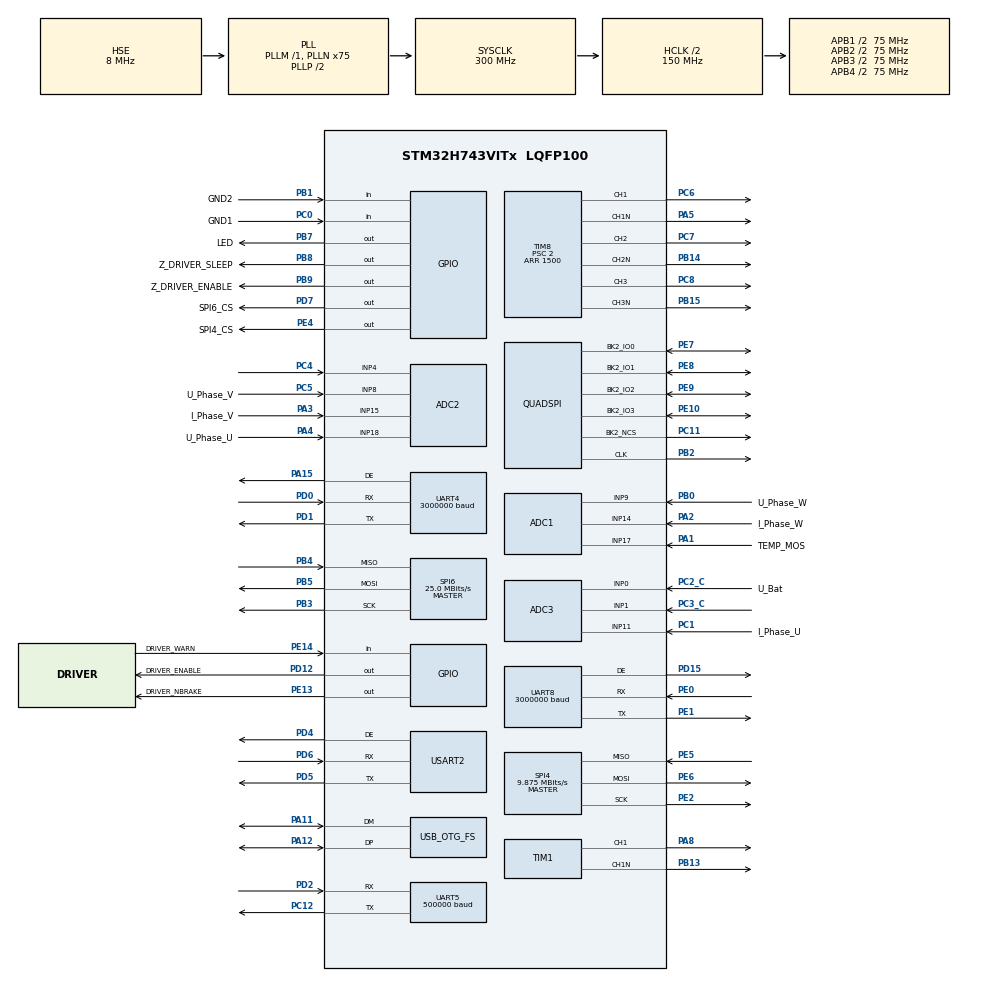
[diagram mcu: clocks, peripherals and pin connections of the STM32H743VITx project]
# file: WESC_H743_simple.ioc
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ADC1.ClockPrescaler=ADC_CLOCK_ASYNC_DIV2
ADC1.ContinuousConvMode=DISABLE
ADC1.EnableInjectedConversion=ENABLE
ADC1.EnableRegularConversion=DISABLE
ADC1.ExternalTrigInjecConv=ADC_EXTERNALTRIGINJEC_T8_TRGO
ADC1.InjNumberOfConversion=3
ADC1.InjectedChannel-2\#ChannelInjectedConversion=ADC_CHANNEL_14
ADC1.InjectedChannel-6\#ChannelInjectedConversion=ADC_CHANNEL_9
ADC1.InjectedChannel-7\#ChannelInjectedConversion=ADC_CHANNEL_17
ADC1.InjectedOffsetNumber-2\#ChannelInjectedConversion=ADC_OFFSET_NONE
ADC1.InjectedOffsetNumber-6\#ChannelInjectedConversion=ADC_OFFSET_NONE
ADC1.InjectedOffsetNumber-7\#ChannelInjectedConversion=ADC_OFFSET_NONE
ADC1.InjectedOffsetSaturation-2\#ChannelInjectedConversion=DISABLE
ADC1.InjectedOffsetSaturation-6\#ChannelInjectedConversion=DISABLE
ADC1.InjectedOffsetSaturation-7\#ChannelInjectedConversion=DISABLE
ADC1.InjectedOffsetSignedSaturation-2\#ChannelInjectedConversion=DISABLE
ADC1.InjectedOffsetSignedSaturation-6\#ChannelInjectedConversion=DISABLE
ADC1.InjectedOffsetSignedSaturation-7\#ChannelInjectedConversion=DISABLE
ADC1.InjectedRank-2\#ChannelInjectedConversion=1
ADC1.InjectedRank-6\#ChannelInjectedConversion=2
ADC1.InjectedRank-7\#ChannelInjectedConversion=3
ADC1.InjectedSamplingTime-2\#ChannelInjectedConversion=ADC_SAMPLETIME_8CYCLES_5
ADC1.InjectedSamplingTime-6\#ChannelInjectedConversion=ADC_SAMPLETIME_8CYCLES_5
ADC1.InjectedSamplingTime-7\#ChannelInjectedConversion=ADC_SAMPLETIME_2CYCLES_5
ADC1.master=1
ADC2.ContinuousConvMode=DISABLE
ADC2.EnableInjectedConversion=ENABLE
ADC2.EnableRegularConversion=DISABLE
ADC2.ExternalTrigInjecConv=ADC_EXTERNALTRIGINJEC_T8_TRGO
ADC2.InjNumberOfConversion=3
ADC2.InjectedChannel-4\#ChannelInjectedConversion=ADC_CHANNEL_15
ADC2.InjectedChannel-5\#ChannelInjectedConversion=ADC_CHANNEL_8
ADC2.InjectedChannel-6\#ChannelInjectedConversion=ADC_CHANNEL_18
ADC2.InjectedOffsetNumber-4\#ChannelInjectedConversion=ADC_OFFSET_NONE
ADC2.InjectedOffsetNumber-5\#ChannelInjectedConversion=ADC_OFFSET_NONE
ADC2.InjectedOffsetNumber-6\#ChannelInjectedConversion=ADC_OFFSET_NONE
ADC2.InjectedOffsetSaturation-4\#ChannelInjectedConversion=DISABLE
ADC2.InjectedOffsetSaturation-5\#ChannelInjectedConversion=DISABLE
ADC2.InjectedOffsetSaturation-6\#ChannelInjectedConversion=DISABLE
ADC2.InjectedOffsetSignedSaturation-4\#ChannelInjectedConversion=DISABLE
ADC2.InjectedOffsetSignedSaturation-5\#ChannelInjectedConversion=DISABLE
ADC2.InjectedOffsetSignedSaturation-6\#ChannelInjectedConversion=DISABLE
ADC2.InjectedRank-4\#ChannelInjectedConversion=1
ADC2.InjectedRank-5\#ChannelInjectedConversion=2
ADC2.InjectedRank-6\#ChannelInjectedConversion=3
ADC2.InjectedSamplingTime-4\#ChannelInjectedConversion=ADC_SAMPLETIME_8CYCLES_5
ADC2.InjectedSamplingTime-5\#ChannelInjectedConversion=ADC_SAMPLETIME_8CYCLES_5
ADC2.InjectedSamplingTime-6\#ChannelInjectedConversion=ADC_SAMPLETIME_8CYCLES_5
ADC3.Channel-0\#ChannelRegularConversion=ADC_CHANNEL_0
ADC3.ClockPrescaler=ADC_CLOCK_ASYNC_DIV2
ADC3.EnableInjectedConversion=ENABLE
ADC3.ExternalTrigInjecConv=ADC_EXTERNALTRIGINJEC_T8_TRGO
ADC3.InjNumberOfConversion=2
ADC3.InjectedChannel-1\#ChannelInjectedConversion=ADC_CHANNEL_11
ADC3.InjectedChannel-2\#ChannelInjectedConversion=ADC_CHANNEL_0
ADC3.InjectedOffsetNumber-1\#ChannelInjectedConversion=ADC_OFFSET_NONE
ADC3.InjectedOffsetNumber-2\#ChannelInjectedConversion=ADC_OFFSET_NONE
ADC3.InjectedOffsetSaturation-1\#ChannelInjectedConversion=DISABLE
ADC3.InjectedOffsetSaturation-2\#ChannelInjectedConversion=DISABLE
ADC3.InjectedOffsetSignedSaturation-1\#ChannelInjectedConversion=DISABLE
ADC3.InjectedOffsetSignedSaturation-2\#ChannelInjectedConversion=DISABLE
ADC3.InjectedRank-1\#ChannelInjectedConversion=1
ADC3.InjectedRank-2\#ChannelInjectedConversion=2
ADC3.InjectedSamplingTime-1\#ChannelInjectedConversion=ADC_SAMPLETIME_8CYCLES_5
ADC3.InjectedSamplingTime-2\#ChannelInjectedConversion=ADC_SAMPLETIME_8CYCLES_5
ADC3.NbrOfConversionFlag=1
ADC3.OffsetNumber-0\#ChannelRegularConversion=ADC_OFFSET_NONE
ADC3.OffsetSignedSaturation-0\#ChannelRegularConversion=DISABLE
ADC3.Rank-0\#ChannelRegularConversion=1
ADC3.SamplingTime-0\#ChannelRegularConversion=ADC_SAMPLETIME_1CYCLE_5
Bdma.Request0=SPI6_RX
Bdma.Request1=SPI6_TX
Bdma.RequestsNb=2
Bdma.SPI6_RX.0.Direction=DMA_PERIPH_TO_MEMORY
Bdma.SPI6_RX.0.EventEnable=DISABLE
Bdma.SPI6_RX.0.Instance=BDMA_Channel3
Bdma.SPI6_RX.0.MemDataAlignment=DMA_MDATAALIGN_HALFWORD
Bdma.SPI6_RX.0.MemInc=DMA_MINC_ENABLE
Bdma.SPI6_RX.0.Mode=DMA_NORMAL
Bdma.SPI6_RX.0.PeriphDataAlignment=DMA_PDATAALIGN_HALFWORD
Bdma.SPI6_RX.0.PeriphInc=DMA_PINC_DISABLE
Bdma.SPI6_RX.0.Polarity=HAL_DMAMUX_REQ_GEN_RISING
Bdma.SPI6_RX.0.Priority=DMA_PRIORITY_LOW
Bdma.SPI6_RX.0.RequestNumber=1
Bdma.SPI6_RX.0.SignalID=NONE
Bdma.SPI6_RX.0.SyncEnable=DISABLE
Bdma.SPI6_RX.0.SyncPolarity=HAL_DMAMUX_SYNC_NO_EVENT
Bdma.SPI6_RX.0.SyncRequestNumber=1
Bdma.SPI6_RX.0.SyncSignalID=NONE
Bdma.SPI6_TX.1.Direction=DMA_MEMORY_TO_PERIPH
Bdma.SPI6_TX.1.EventEnable=DISABLE
Bdma.SPI6_TX.1.Instance=BDMA_Channel2
Bdma.SPI6_TX.1.MemDataAlignment=DMA_MDATAALIGN_HALFWORD
Bdma.SPI6_TX.1.MemInc=DMA_MINC_ENABLE
Bdma.SPI6_TX.1.Mode=DMA_NORMAL
Bdma.SPI6_TX.1.PeriphDataAlignment=DMA_PDATAALIGN_HALFWORD
Bdma.SPI6_TX.1.PeriphInc=DMA_PINC_DISABLE
Bdma.SPI6_TX.1.Polarity=HAL_DMAMUX_REQ_GEN_RISING
Bdma.SPI6_TX.1.Priority=DMA_PRIORITY_LOW
Bdma.SPI6_TX.1.RequestNumber=1
Bdma.SPI6_TX.1.SignalID=NONE
Bdma.SPI6_TX.1.SyncEnable=DISABLE
Bdma.SPI6_TX.1.SyncPolarity=HAL_DMAMUX_SYNC_NO_EVENT
Bdma.SPI6_TX.1.SyncRequestNumber=1
Bdma.SPI6_TX.1.SyncSignalID=NONE
CORTEX_M7.default_mode_Activation=1
Dma.Request0=UART5_RX
Dma.Request1=UART5_TX
Dma.Request2=UART4_RX
Dma.Request3=UART4_TX
Dma.Request4=UART8_RX
Dma.Request5=UART8_TX
Dma.UART4_RX.2.Direction=DMA_PERIPH_TO_MEMORY
Dma.UART4_RX.2.EventEnable=DISABLE
Dma.UART4_RX.2.FIFOMode=DMA_FIFOMODE_DISABLE
Dma.UART4_RX.2.Instance=DMA1_Stream2
Dma.UART4_RX.2.MemDataAlignment=DMA_MDATAALIGN_BYTE
Dma.UART4_RX.2.MemInc=DMA_MINC_ENABLE
Dma.UART4_RX.2.Mode=DMA_NORMAL
Dma.UART4_RX.2.PeriphDataAlignment=DMA_PDATAALIGN_BYTE
Dma.UART4_RX.2.PeriphInc=DMA_PINC_DISABLE
Dma.UART4_RX.2.Polarity=HAL_DMAMUX_REQ_GEN_RISING
Dma.UART4_RX.2.Priority=DMA_PRIORITY_LOW
Dma.UART4_RX.2.RequestNumber=1
Dma.UART4_RX.2.SignalID=NONE
Dma.UART4_RX.2.SyncEnable=DISABLE
Dma.UART4_RX.2.SyncPolarity=HAL_DMAMUX_SYNC_NO_EVENT
Dma.UART4_RX.2.SyncRequestNumber=1
Dma.UART4_RX.2.SyncSignalID=NONE
Dma.UART4_TX.3.Direction=DMA_MEMORY_TO_PERIPH
Dma.UART4_TX.3.EventEnable=DISABLE
Dma.UART4_TX.3.FIFOMode=DMA_FIFOMODE_DISABLE
Dma.UART4_TX.3.Instance=DMA1_Stream3
Dma.UART4_TX.3.MemDataAlignment=DMA_MDATAALIGN_BYTE
Dma.UART4_TX.3.MemInc=DMA_MINC_ENABLE
Dma.UART4_TX.3.Mode=DMA_NORMAL
Dma.UART4_TX.3.PeriphDataAlignment=DMA_PDATAALIGN_BYTE
Dma.UART4_TX.3.PeriphInc=DMA_PINC_DISABLE
Dma.UART4_TX.3.Polarity=HAL_DMAMUX_REQ_GEN_RISING
Dma.UART4_TX.3.Priority=DMA_PRIORITY_LOW
Dma.UART4_TX.3.RequestNumber=1
Dma.UART4_TX.3.SignalID=NONE
Dma.UART4_TX.3.SyncEnable=DISABLE
Dma.UART4_TX.3.SyncPolarity=HAL_DMAMUX_SYNC_NO_EVENT
Dma.UART4_TX.3.SyncRequestNumber=1
Dma.UART4_TX.3.SyncSignalID=NONE
Dma.UART5_RX.0.Direction=DMA_PERIPH_TO_MEMORY
Dma.UART5_RX.0.EventEnable=DISABLE
Dma.UART5_RX.0.FIFOMode=DMA_FIFOMODE_DISABLE
Dma.UART5_RX.0.Instance=DMA1_Stream0
Dma.UART5_RX.0.MemDataAlignment=DMA_MDATAALIGN_BYTE
Dma.UART5_RX.0.MemInc=DMA_MINC_ENABLE
Dma.UART5_RX.0.Mode=DMA_NORMAL
Dma.UART5_RX.0.PeriphDataAlignment=DMA_PDATAALIGN_BYTE
Dma.UART5_RX.0.PeriphInc=DMA_PINC_DISABLE
Dma.UART5_RX.0.Polarity=HAL_DMAMUX_REQ_GEN_RISING
Dma.UART5_RX.0.Priority=DMA_PRIORITY_LOW
Dma.UART5_RX.0.RequestNumber=1
Dma.UART5_RX.0.SignalID=NONE
Dma.UART5_RX.0.SyncEnable=DISABLE
Dma.UART5_RX.0.SyncPolarity=HAL_DMAMUX_SYNC_NO_EVENT
Dma.UART5_RX.0.SyncRequestNumber=1
Dma.UART5_RX.0.SyncSignalID=NONE
Dma.UART5_TX.1.Direction=DMA_MEMORY_TO_PERIPH
Dma.UART5_TX.1.EventEnable=DISABLE
Dma.UART5_TX.1.FIFOMode=DMA_FIFOMODE_DISABLE
Dma.UART5_TX.1.Instance=DMA1_Stream1
Dma.UART5_TX.1.MemDataAlignment=DMA_MDATAALIGN_BYTE
Dma.UART5_TX.1.MemInc=DMA_MINC_ENABLE
Dma.UART5_TX.1.Mode=DMA_NORMAL
Dma.UART5_TX.1.PeriphDataAlignment=DMA_PDATAALIGN_BYTE
Dma.UART5_TX.1.PeriphInc=DMA_PINC_DISABLE
Dma.UART5_TX.1.Polarity=HAL_DMAMUX_REQ_GEN_RISING
Dma.UART5_TX.1.Priority=DMA_PRIORITY_LOW
Dma.UART5_TX.1.RequestNumber=1
Dma.UART5_TX.1.SignalID=NONE
Dma.UART5_TX.1.SyncEnable=DISABLE
Dma.UART5_TX.1.SyncPolarity=HAL_DMAMUX_SYNC_NO_EVENT
Dma.UART5_TX.1.SyncRequestNumber=1
Dma.UART5_TX.1.SyncSignalID=NONE
Dma.UART8_RX.4.Direction=DMA_PERIPH_TO_MEMORY
Dma.UART8_RX.4.EventEnable=DISABLE
Dma.UART8_RX.4.FIFOMode=DMA_FIFOMODE_DISABLE
Dma.UART8_RX.4.Instance=DMA1_Stream4
Dma.UART8_RX.4.MemDataAlignment=DMA_MDATAALIGN_BYTE
Dma.UART8_RX.4.MemInc=DMA_MINC_ENABLE
Dma.UART8_RX.4.Mode=DMA_NORMAL
Dma.UART8_RX.4.PeriphDataAlignment=DMA_PDATAALIGN_BYTE
Dma.UART8_RX.4.PeriphInc=DMA_PINC_DISABLE
Dma.UART8_RX.4.Polarity=HAL_DMAMUX_REQ_GEN_RISING
Dma.UART8_RX.4.Priority=DMA_PRIORITY_LOW
Dma.UART8_RX.4.RequestNumber=1
Dma.UART8_RX.4.SignalID=NONE
Dma.UART8_RX.4.SyncEnable=DISABLE
Dma.UART8_RX.4.SyncPolarity=HAL_DMAMUX_SYNC_NO_EVENT
Dma.UART8_RX.4.SyncRequestNumber=1
Dma.UART8_RX.4.SyncSignalID=NONE
Dma.UART8_TX.5.Direction=DMA_MEMORY_TO_PERIPH
Dma.UART8_TX.5.EventEnable=DISABLE
Dma.UART8_TX.5.FIFOMode=DMA_FIFOMODE_DISABLE
Dma.UART8_TX.5.Instance=DMA1_Stream5
Dma.UART8_TX.5.MemDataAlignment=DMA_MDATAALIGN_BYTE
Dma.UART8_TX.5.MemInc=DMA_MINC_ENABLE
Dma.UART8_TX.5.Mode=DMA_NORMAL
Dma.UART8_TX.5.PeriphDataAlignment=DMA_PDATAALIGN_BYTE
Dma.UART8_TX.5.PeriphInc=DMA_PINC_DISABLE
Dma.UART8_TX.5.Polarity=HAL_DMAMUX_REQ_GEN_RISING
Dma.UART8_TX.5.Priority=DMA_PRIORITY_LOW
Dma.UART8_TX.5.RequestNumber=1
Dma.UART8_TX.5.SignalID=NONE
Dma.UART8_TX.5.SyncEnable=DISABLE
Dma.UART8_TX.5.SyncPolarity=HAL_DMAMUX_SYNC_NO_EVENT
Dma.UART8_TX.5.SyncRequestNumber=1
Dma.UART8_TX.5.SyncSignalID=NONE
Mcu.Family=STM32H7
Mcu.Name=STM32H743VITx
Mcu.Package=LQFP100
NVIC.ADC3_IRQn=true\:2\:0\:true\:false\:true\:true\:true\:true
NVIC.ADC_IRQn=true\:2\:0\:true\:false\:true\:true\:true\:true
NVIC.BDMA_Channel2_IRQn=true\:0\:0\:false\:false\:true\:false\:true\:true
NVIC.BDMA_Channel3_IRQn=true\:0\:0\:false\:false\:true\:false\:true\:true
NVIC.DMA1_Stream0_IRQn=true\:2\:0\:true\:false\:true\:false\:true\:true
NVIC.DMA1_Stream1_IRQn=true\:2\:0\:true\:false\:true\:false\:true\:true
NVIC.DMA1_Stream2_IRQn=true\:2\:0\:true\:false\:true\:false\:true\:true
NVIC.DMA1_Stream3_IRQn=true\:2\:0\:true\:false\:true\:false\:true\:true
NVIC.DMA1_Stream4_IRQn=true\:2\:0\:true\:false\:true\:false\:true\:true
NVIC.DMA1_Stream5_IRQn=true\:2\:0\:true\:false\:true\:false\:true\:true
NVIC.OTG_FS_IRQn=true\:4\:0\:true\:false\:true\:false\:true\:true
NVIC.PriorityGroup=NVIC_PRIORITYGROUP_4
NVIC.SPI6_IRQn=true\:0\:0\:false\:false\:true\:true\:true\:true
NVIC.TIM3_IRQn=true\:0\:0\:false\:false\:true\:true\:true\:true
NVIC.TIM8_BRK_TIM12_IRQn=true\:0\:0\:false\:false\:true\:true\:true\:true
NVIC.TIM8_CC_IRQn=true\:1\:0\:true\:false\:true\:true\:true\:true
NVIC.TIM8_UP_TIM13_IRQn=true\:0\:0\:false\:false\:true\:true\:true\:true
NVIC.UART4_IRQn=true\:5\:0\:true\:false\:true\:true\:true\:true
NVIC.UART5_IRQn=true\:5\:0\:true\:false\:true\:true\:true\:true
NVIC.UART8_IRQn=true\:5\:0\:true\:false\:true\:true\:true\:true
PA1.GPIO_Label=TEMP_MOS
PA1.Mode=IN17-Single-Ended
PA1.Signal=ADC1_INP17
PA11.Mode=Device_Only
PA11.Signal=USB_OTG_FS_DM
PA12.Mode=Device_Only
PA12.Signal=USB_OTG_FS_DP
PA13\ (JTMS/SWDIO).Mode=Serial_Wire
PA13\ (JTMS/SWDIO).Signal=DEBUG_JTMS-SWDIO
PA14\ (JTCK/SWCLK).Mode=Serial_Wire
PA14\ (JTCK/SWCLK).Signal=DEBUG_JTCK-SWCLK
PA15\ (JTDI).Mode=Hardware Flow Control (RS485)
PA15\ (JTDI).Signal=UART4_DE
PA2.GPIO_Label=I_Phase_W
PA2.Signal=ADCx_INP14
PA3.GPIO_Label=I_Phase_V
PA3.Signal=ADCx_INP15
PA4.GPIO_Label=U_Phase_U
PA4.Signal=ADCx_INP18
PA5.Mode=PWM Generation1 CH1 CH1N
PA5.Signal=TIM8_CH1N
PA6.GPIO_Label=DRIVER_FAULT
PA6.Signal=TIM8_BKIN
PA8.Signal=S_TIM1_CH1
PA9.Signal=USB_OTG_FS_VBUS
PB0.GPIO_Label=U_Phase_W
PB0.Signal=ADCx_INP9
PB1.GPIO_Label=GND2
PB1.Signal=GPIO_Input
PB12.Signal=TIM1_BKIN
PB13.Mode=PWM Generation1 CH1 CH1N
PB13.Signal=TIM1_CH1N
PB14.Mode=PWM Generation2 CH2 CH2N
PB14.Signal=TIM8_CH2N
PB15.Mode=PWM Generation3 CH3 CH3N
PB15.Signal=TIM8_CH3N
PB2.Mode=Single Bank 2
PB2.Signal=QUADSPI_CLK
PB3\ (JTDO/TRACESWO).GPIO_Speed=GPIO_SPEED_FREQ_MEDIUM
PB3\ (JTDO/TRACESWO).Mode=Full_Duplex_Master
PB3\ (JTDO/TRACESWO).Signal=SPI6_SCK
PB4\ (NJTRST).GPIO_Speed=GPIO_SPEED_FREQ_MEDIUM
PB4\ (NJTRST).Mode=Full_Duplex_Master
PB4\ (NJTRST).Signal=SPI6_MISO
PB5.GPIO_Speed=GPIO_SPEED_FREQ_MEDIUM
PB5.Mode=Full_Duplex_Master
PB5.Signal=SPI6_MOSI
PB7.GPIO_Label=LED
PB7.Signal=GPIO_Output
PB8.GPIO_Label=Z_DRIVER_SLEEP
PB8.Signal=GPIO_Output
PB9.GPIO_Label=Z_DRIVER_ENABLE
PB9.Signal=GPIO_Output
PC0.GPIO_Label=GND1
PC0.Signal=GPIO_Input
PC1.GPIO_Label=I_Phase_U
PC1.Signal=ADCx_INP11
PC11.Mode=Single Bank 2
PC11.Signal=QUADSPI_BK2_NCS
PC12.Mode=Asynchronous
PC12.Signal=UART5_TX
PC14-OSC32_IN\ (OSC32_IN).Mode=LSE-External-Clock-Source
PC14-OSC32_IN\ (OSC32_IN).Signal=RCC_OSC32_IN
PC2_C.GPIO_Label=U_Bat
PC2_C.Mode=IN0-Single-Ended
PC2_C.Signal=ADC3_INP0
PC3_C.Mode=IN1-Single-Ended
PC3_C.Signal=ADC3_INP1
PC4.Signal=ADCx_INP4
PC5.GPIO_Label=U_Phase_V
PC5.Signal=ADCx_INP8
PC6.Signal=S_TIM8_CH1
PC7.Signal=S_TIM8_CH2
PC8.Signal=S_TIM8_CH3
PC9.Signal=S_TIM3_CH4
PD0.Mode=Asynchronous
PD0.Signal=UART4_RX
PD1.Mode=Asynchronous
PD1.Signal=UART4_TX
PD12.GPIO_Label=DRIVER_ENABLE
PD12.Signal=GPIO_Output
PD15.Mode=Hardware Flow Control (RS485)
PD15.Signal=UART8_DE
PD2.Mode=Asynchronous
PD2.Signal=UART5_RX
PD4.Mode=Hardware Flow Control (RS485)
PD4.Signal=USART2_DE
PD5.Mode=Asynchronous
PD5.Signal=USART2_TX
PD6.Mode=Asynchronous
PD6.Signal=USART2_RX
PD7.GPIO_Label=SPI6_CS
PD7.Signal=GPIO_Output
PE0.Mode=Asynchronous
PE0.Signal=UART8_RX
PE1.Mode=Asynchronous
PE1.Signal=UART8_TX
PE10.Mode=Single Bank 2
PE10.Signal=QUADSPI_BK2_IO3
PE13.GPIO_Label=DRIVER_NBRAKE
PE13.Signal=GPIO_Output
PE14.GPIO_Label=DRIVER_WARN
PE14.Signal=GPIO_Input
PE2.Mode=Full_Duplex_Master
PE2.Signal=SPI4_SCK
PE4.GPIO_Label=SPI4_CS
PE4.Signal=GPIO_Output
PE5.Mode=Full_Duplex_Master
PE5.Signal=SPI4_MISO
PE6.Mode=Full_Duplex_Master
PE6.Signal=SPI4_MOSI
PE7.Mode=Single Bank 2
PE7.Signal=QUADSPI_BK2_IO0
PE8.Mode=Single Bank 2
PE8.Signal=QUADSPI_BK2_IO1
PE9.Mode=Single Bank 2
PE9.Signal=QUADSPI_BK2_IO2
PH0-OSC_IN\ (PH0).Mode=HSE-External-Oscillator
PH0-OSC_IN\ (PH0).Signal=RCC_OSC_IN
PH1-OSC_OUT\ (PH1).Mode=HSE-External-Oscillator
PH1-OSC_OUT\ (PH1).Signal=RCC_OSC_OUT
ProjectManager.HeapSize=0x200
ProjectManager.StackSize=0x400
ProjectManager.TargetToolchain=STM32CubeIDE
RCC.ADCFreq_Value=79000000
RCC.APB1Freq_Value=75000000
RCC.APB2Freq_Value=75000000
RCC.APB3Freq_Value=75000000
RCC.APB4Freq_Value=75000000
RCC.CortexFreq_Value=300000000
RCC.D1PPRE=RCC_APB3_DIV2
RCC.D2PPRE1=RCC_APB1_DIV2
RCC.D2PPRE2=RCC_APB2_DIV2
RCC.D3PPRE=RCC_APB4_DIV2
RCC.DIVM1=1
RCC.DIVM2=1
RCC.DIVM3=1
RCC.DIVN1=75
RCC.DIVN2=19
RCC.DIVN3=25
RCC.DIVQ1=10
RCC.DIVQ2=4
RCC.DIVQ3=4
RCC.HCLKFreq_Value=150000000
RCC.HPRE=RCC_HCLK_DIV2
RCC.HSE_VALUE=8000000
RCC.PLL1_VCI_Range-AdvancedSettings=RCC_PLL1VCIRANGE_0
RCC.PLL2FRACN=6144
RCC.PLL2_VCI_Range-AdvancedSettings=RCC_PLL2VCIRANGE_0
RCC.PLL3FRACN=0
RCC.PLL3_VCO_SEL-AdvancedSettings=RCC_PLL3VCOMEDIUM
RCC.PLLFRACN=0
RCC.SPI6CLockSelection=RCC_SPI6CLKSOURCE_PLL3
RCC.SYSCLKFreq_VALUE=300000000
RCC.SYSCLKSource=RCC_SYSCLKSOURCE_PLLCLK
RCC.Spi45ClockSelection=RCC_SPI45CLKSOURCE_PLL2
RCC.USBFreq_Value=60000000
SH.ADCx_INP11.0=ADC3_INP11,IN11-Single-Ended
SH.ADCx_INP14.0=ADC1_INP14,IN14-Single-Ended
SH.ADCx_INP15.0=ADC2_INP15,IN15-Single-Ended
SH.ADCx_INP18.0=ADC2_INP18,IN18-Single-Ended
SH.ADCx_INP4.0=ADC2_INP4,IN4-Single-Ended
SH.ADCx_INP8.0=ADC2_INP8,IN8-Single-Ended
SH.ADCx_INP9.0=ADC1_INP9,IN9-Single-Ended
SH.S_TIM1_CH1.0=TIM1_CH1,PWM Generation1 CH1 CH1N
SH.S_TIM3_CH4.0=TIM3_CH4
SH.S_TIM8_CH1.0=TIM8_CH1,PWM Generation1 CH1 CH1N
SH.S_TIM8_CH2.0=TIM8_CH2,PWM Generation2 CH2 CH2N
SH.S_TIM8_CH3.0=TIM8_CH3,PWM Generation3 CH3 CH3N
SPI4.BaudRatePrescaler=SPI_BAUDRATEPRESCALER_4
SPI4.CLKPhase=SPI_PHASE_2EDGE
SPI4.CLKPolarity=SPI_POLARITY_LOW
SPI4.CalculateBaudRate=9.875 MBits/s
SPI4.DataSize=SPI_DATASIZE_8BIT
SPI4.Direction=SPI_DIRECTION_2LINES
SPI4.Mode=SPI_MODE_MASTER
SPI4.VirtualType=VM_MASTER
SPI6.BaudRatePrescaler=SPI_BAUDRATEPRESCALER_2
SPI6.CLKPhase=SPI_PHASE_2EDGE
SPI6.CLKPolarity=SPI_POLARITY_HIGH
SPI6.CalculateBaudRate=25.0 MBits/s
SPI6.DataSize=SPI_DATASIZE_16BIT
SPI6.Direction=SPI_DIRECTION_2LINES
SPI6.Mode=SPI_MODE_MASTER
SPI6.VirtualType=VM_MASTER
TIM1.AutomaticOutput=TIM_AUTOMATICOUTPUT_ENABLE
TIM1.Channel-PWM\ Generation1\ CH1\ CH1N=TIM_CHANNEL_1
TIM1.OffStateIDLEMode=TIM_OSSI_ENABLE
TIM2.Channel-PWM\ Generation1\ No\ Output=TIM_CHANNEL_1
TIM2.Prescaler=149
TIM3.Channel-PWM\ Generation1\ No\ Output=TIM_CHANNEL_1
TIM3.Period=9999
TIM3.Prescaler=149
TIM8.AutomaticOutput=TIM_AUTOMATICOUTPUT_DISABLE
TIM8.Break2Polarity=TIM_BREAK2POLARITY_LOW
TIM8.BreakPolarity=TIM_BREAKPOLARITY_LOW
TIM8.BreakState=TIM_BREAK_DISABLE
TIM8.Channel-PWM\ Generation1\ CH1\ CH1N=TIM_CHANNEL_1
TIM8.Channel-PWM\ Generation2\ CH2\ CH2N=TIM_CHANNEL_2
TIM8.Channel-PWM\ Generation3\ CH3\ CH3N=TIM_CHANNEL_3
TIM8.Channel-PWM\ Generation4\ No\ Output=TIM_CHANNEL_4
TIM8.CounterMode=TIM_COUNTERMODE_CENTERALIGNED1
TIM8.OCNPolarity_1=TIM_OCNPOLARITY_HIGH
TIM8.OCPolarity_1=TIM_OCPOLARITY_HIGH
TIM8.OCPolarity_2=TIM_OCPOLARITY_HIGH
TIM8.OffStateIDLEMode=TIM_OSSI_ENABLE
TIM8.OffStateRunMode=TIM_OSSR_ENABLE
TIM8.Period=1500
TIM8.Prescaler=2
TIM8.TIM_MasterOutputTrigger=TIM_TRGO_OC4REF
UART4.BaudRate=3000000
UART5.BaudRate=500000
UART8.BaudRate=3000000
USART2.VirtualMode-Asynchronous=VM_ASYNC
USART2.VirtualMode-Hardware\ Flow\ Control\ (RS485)=VM_ASYNC
USB_DEVICE.CLASS_NAME_FS=CDC
USB_DEVICE.VirtualMode-CDC_FS=Cdc
USB_DEVICE.VirtualModeFS=Cdc_FS
USB_OTG_FS.VirtualMode=Device_Only
VP_MEMORYMAP_VS_MEMORYMAP.Mode=CurAppReg
VP_TIM2_VS_no_output1.Mode=PWM Generation1 No Output
VP_TIM3_VS_ClockSourceINT.Mode=Internal
VP_TIM3_VS_no_output1.Mode=PWM Generation1 No Output
VP_TIM4_VS_ClockSourceINT.Mode=Internal
VP_TIM8_VS_ClockSourceINT.Mode=Internal
VP_TIM8_VS_no_output4.Mode=PWM Generation4 No Output
VP_USB_DEVICE_VS_USB_DEVICE_CDC_FS.Mode=CDC_FS
board=custom

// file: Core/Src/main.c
/* USER CODE BEGIN Header */
/**
  ******************************************************************************
  * @file           : main.c
  * @brief          : Main program body
  ******************************************************************************
  * @attention
  *
  * Copyright (c) 2024 STMicroelectronics.
  * All rights reserved.
  *
  * This software is licensed under terms that can be found in the LICENSE file
  * in the root directory of this software component.
  * If no LICENSE file comes with this software, it is provided AS-IS.
  *
  ******************************************************************************
  */
/* USER CODE END Header */
#include "main.h"
#include "adc.h"
#include "bdma.h"
#include "dma.h"
#include "memorymap.h"
#include "quadspi.h"
#include "spi.h"
#include "tim.h"
#include "usart.h"
#include "usb_device.h"
#include "gpio.h"

/* USER CODE BEGIN Includes */
#include "WESC_foc.h"
#include "us_time.h"

#include "./infineon_6EDL7141.h"
#include "MA732_driver.h"

#include "printf.h"
/* USER CODE END Includes */

void SystemClock_Config(void);
void PeriphCommonClock_Config(void);
static void MPU_Config(void);
/* USER CODE BEGIN PFP */
void _putchar(char character)
{
  // send char to console etc.
	//uart_send_txt(&character);
	 //uart_add_data_to_buffer(&character, 1);
	HAL_UART_Transmit(&huart5, &character, 1, 1);
}

void HAL_UARTEx_RxEventCallback(UART_HandleTypeDef *huart, uint16_t Size)
{
	if(huart == &huart5){
		WESC_serial_callback(Size);
	}
}

/* USER CODE END PFP */

int main(void)
{

  /* MPU Configuration--------------------------------------------------------*/
  MPU_Config();

  /* MCU Configuration--------------------------------------------------------*/

  /* Reset of all peripherals, Initializes the Flash interface and the Systick. */
  HAL_Init();

  /* Configure the system clock */
  SystemClock_Config();

  /* Configure the peripherals common clocks */
  PeriphCommonClock_Config();

  /* Initialize all configured peripherals */
  MX_GPIO_Init();
  MX_DMA_Init();
  MX_BDMA_Init();
  MX_ADC3_Init();
  MX_QUADSPI_Init();
  MX_SPI4_Init();
  MX_SPI6_Init();
  MX_TIM1_Init();
  MX_TIM3_Init();
  MX_TIM4_Init();
  MX_TIM8_Init();
  MX_UART4_Init();
  MX_UART5_Init();
  MX_UART8_Init();
  MX_USART2_UART_Init();
  MX_TIM2_Init();
  MX_ADC2_Init();
  MX_ADC1_Init();
  MX_USB_DEVICE_Init();
  /* USER CODE BEGIN 2 */
  us_time_init();

  mtr[0].mtimer = &htim8;
  mtr[0].stimer = &htim3;

  WESC_init(&mtr[0]);

  WESC_cli_init();

  /* USER CODE END 2 */

  /* Infinite loop */
  /* USER CODE BEGIN WHILE */
  while (1)
  {
	  HAL_Delay(300);

    /* USER CODE END WHILE */

  }
}

void SystemClock_Config(void)
{
  RCC_OscInitTypeDef RCC_OscInitStruct = {0};
  RCC_ClkInitTypeDef RCC_ClkInitStruct = {0};

  /** Supply configuration update enable
  */
  HAL_PWREx_ConfigSupply(PWR_LDO_SUPPLY);

  /** Configure the main internal regulator output voltage
  */
  __HAL_PWR_VOLTAGESCALING_CONFIG(PWR_REGULATOR_VOLTAGE_SCALE2);

  while(!__HAL_PWR_GET_FLAG(PWR_FLAG_VOSRDY)) {}

  /** Initializes the RCC Oscillators according to the specified parameters
  * in the RCC_OscInitTypeDef structure.
  */
  RCC_OscInitStruct.OscillatorType = RCC_OSCILLATORTYPE_HSE;
  RCC_OscInitStruct.HSEState = RCC_HSE_ON;
  RCC_OscInitStruct.PLL.PLLState = RCC_PLL_ON;
  RCC_OscInitStruct.PLL.PLLSource = RCC_PLLSOURCE_HSE;
  RCC_OscInitStruct.PLL.PLLM = 1;
  RCC_OscInitStruct.PLL.PLLN = 75;
  RCC_OscInitStruct.PLL.PLLP = 2;
  RCC_OscInitStruct.PLL.PLLQ = 10;
  RCC_OscInitStruct.PLL.PLLR = 2;
  RCC_OscInitStruct.PLL.PLLRGE = RCC_PLL1VCIRANGE_3;
  RCC_OscInitStruct.PLL.PLLVCOSEL = RCC_PLL1VCOWIDE;
  RCC_OscInitStruct.PLL.PLLFRACN = 0;
  if (HAL_RCC_OscConfig(&RCC_OscInitStruct) != HAL_OK)
  {
    Error_Handler();
  }

  /** Initializes the CPU, AHB and APB buses clocks
  */
  RCC_ClkInitStruct.ClockType = RCC_CLOCKTYPE_HCLK|RCC_CLOCKTYPE_SYSCLK
                              |RCC_CLOCKTYPE_PCLK1|RCC_CLOCKTYPE_PCLK2
                              |RCC_CLOCKTYPE_D3PCLK1|RCC_CLOCKTYPE_D1PCLK1;
  RCC_ClkInitStruct.SYSCLKSource = RCC_SYSCLKSOURCE_PLLCLK;
  RCC_ClkInitStruct.SYSCLKDivider = RCC_SYSCLK_DIV1;
  RCC_ClkInitStruct.AHBCLKDivider = RCC_HCLK_DIV2;
  RCC_ClkInitStruct.APB3CLKDivider = RCC_APB3_DIV2;
  RCC_ClkInitStruct.APB1CLKDivider = RCC_APB1_DIV2;
  RCC_ClkInitStruct.APB2CLKDivider = RCC_APB2_DIV2;
  RCC_ClkInitStruct.APB4CLKDivider = RCC_APB4_DIV2;

  if (HAL_RCC_ClockConfig(&RCC_ClkInitStruct, FLASH_LATENCY_2) != HAL_OK)
  {
    Error_Handler();
  }
}

void PeriphCommonClock_Config(void)
{
  RCC_PeriphCLKInitTypeDef PeriphClkInitStruct = {0};

  /** Initializes the peripherals clock
  */
  PeriphClkInitStruct.PeriphClockSelection = RCC_PERIPHCLK_ADC|RCC_PERIPHCLK_SPI4;
  PeriphClkInitStruct.PLL2.PLL2M = 1;
  PeriphClkInitStruct.PLL2.PLL2N = 19;
  PeriphClkInitStruct.PLL2.PLL2P = 2;
  PeriphClkInitStruct.PLL2.PLL2Q = 4;
  PeriphClkInitStruct.PLL2.PLL2R = 2;
  PeriphClkInitStruct.PLL2.PLL2RGE = RCC_PLL2VCIRANGE_3;
  PeriphClkInitStruct.PLL2.PLL2VCOSEL = RCC_PLL2VCOMEDIUM;
  PeriphClkInitStruct.PLL2.PLL2FRACN = 6144;
  PeriphClkInitStruct.Spi45ClockSelection = RCC_SPI45CLKSOURCE_PLL2;
  PeriphClkInitStruct.AdcClockSelection = RCC_ADCCLKSOURCE_PLL2;
  if (HAL_RCCEx_PeriphCLKConfig(&PeriphClkInitStruct) != HAL_OK)
  {
    Error_Handler();
  }
}

 /* MPU Configuration */

void MPU_Config(void)
{
  MPU_Region_InitTypeDef MPU_InitStruct = {0};

  /* Disables the MPU */
  HAL_MPU_Disable();

  /** Initializes and configures the Region and the memory to be protected
  */
  MPU_InitStruct.Enable = MPU_REGION_ENABLE;
  MPU_InitStruct.Number = MPU_REGION_NUMBER0;
  MPU_InitStruct.BaseAddress = 0x0;
  MPU_InitStruct.Size = MPU_REGION_SIZE_4GB;
  MPU_InitStruct.SubRegionDisable = 0x87;
  MPU_InitStruct.TypeExtField = MPU_TEX_LEVEL0;
  MPU_InitStruct.AccessPermission = MPU_REGION_NO_ACCESS;
  MPU_InitStruct.DisableExec = MPU_INSTRUCTION_ACCESS_DISABLE;
  MPU_InitStruct.IsShareable = MPU_ACCESS_SHAREABLE;
  MPU_InitStruct.IsCacheable = MPU_ACCESS_NOT_CACHEABLE;
  MPU_InitStruct.IsBufferable = MPU_ACCESS_NOT_BUFFERABLE;

  HAL_MPU_ConfigRegion(&MPU_InitStruct);
  /* Enables the MPU */
  HAL_MPU_Enable(MPU_PRIVILEGED_DEFAULT);

}

void Error_Handler(void)
{
  __disable_irq();
  while (1)
  {
  }
}
